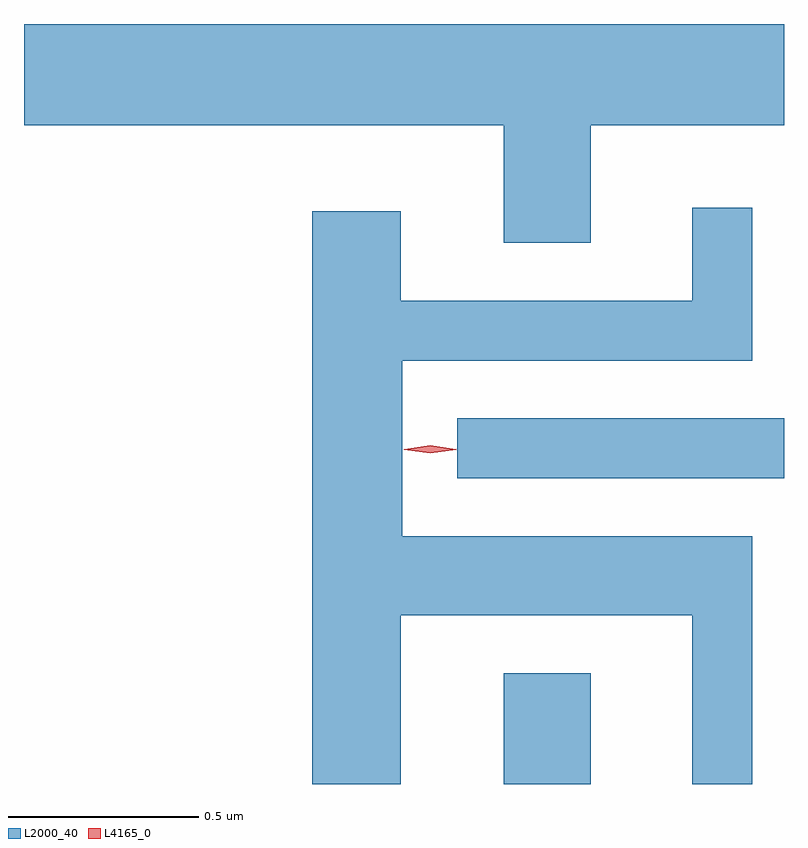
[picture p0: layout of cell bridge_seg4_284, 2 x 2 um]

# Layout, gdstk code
import gdstk
lib = gdstk.Library(unit=1e-6, precision=1e-09)
def R(c, l, rs):  # rectangles x0, y0, x1, y1
    for r in rs: c.add(gdstk.rectangle(r[:2], r[2:], *l))
def P(c, l, *ps):  # polygons
    for p in ps: c.add(gdstk.Polygon(p, *l))
L2000_40 = (2000, 40)
L4165_0 = (4165, 0)

bridge_seg4_284 = lib.new_cell('bridge_seg4_284')
R(bridge_seg4_284, L2000_40, [(572.851,1328.522,573.079,1328.814), (572.728,1329.326,573.588,1329.484)])
P(bridge_seg4_284, L2000_40, [(573.079,1330.256),(573.588,1330.256),(573.588,1330.522),(571.588,1330.522),(571.588,1330.256),(572.851,1330.256),(572.851,1329.946),(573.079,1329.946)],
  [(572.579,1328.966),(573.346,1328.966),(573.346,1328.522),(573.504,1328.522),(573.504,1329.174),(572.584,1329.174),(572.584,1329.636),(573.504,1329.636),(573.504,1330.038),(573.346,1330.038),(573.346,1329.794),(572.579,1329.794),(572.579,1330.029),(572.346,1330.029),(572.346,1328.522),(572.579,1328.522)])
P(bridge_seg4_284, L4165_0, [(572.657,1329.393),(572.591,1329.402),(572.59,1329.403),(572.591,1329.403),(572.657,1329.413),(572.722,1329.403),(572.723,1329.403),(572.722,1329.402)],
  [(572.657,1329.393),(572.588,1329.402),(572.587,1329.403),(572.588,1329.403),(572.657,1329.413),(572.726,1329.403),(572.726,1329.403),(572.726,1329.402)])

lib.write_gds('bridge_seg4_284.gds')
